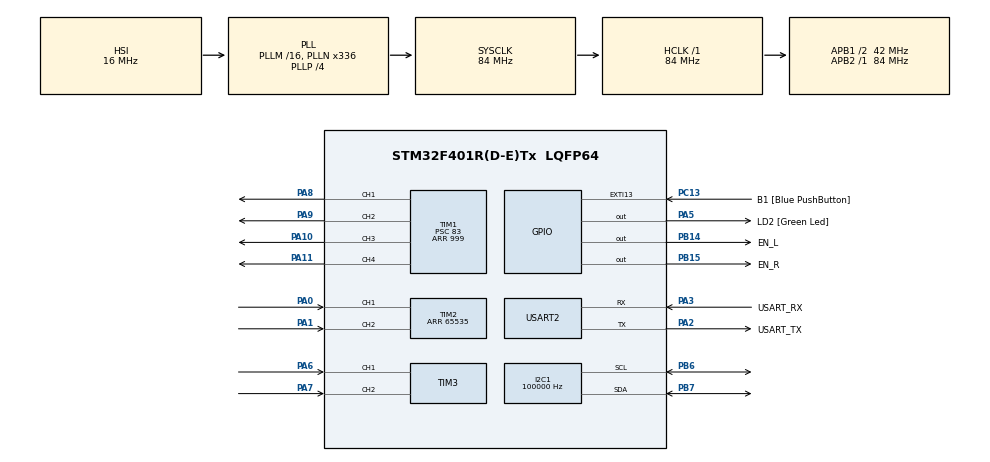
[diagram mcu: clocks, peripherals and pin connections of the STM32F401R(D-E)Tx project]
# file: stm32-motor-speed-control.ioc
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I2C1.ClockSpeed=100000
I2C1.GeneralCallMode=I2C_GENERALCALL_ENABLE
I2C1.NoStretchMode=I2C_NOSTRETCH_DISABLE
I2C1.OwnAddress=69
Mcu.Family=STM32F4
Mcu.Name=STM32F401R(D-E)Tx
Mcu.Package=LQFP64
NVIC.I2C1_ER_IRQn=true\:0\:0\:false\:false\:true\:true\:true\:true
NVIC.I2C1_EV_IRQn=true\:0\:0\:false\:false\:true\:true\:true\:true
NVIC.PriorityGroup=NVIC_PRIORITYGROUP_0
NVIC.TIM4_IRQn=true\:0\:0\:false\:false\:true\:true\:true\:true
PA0-WKUP.Signal=S_TIM2_CH1_ETR
PA1.Signal=S_TIM2_CH2
PA10.Signal=S_TIM1_CH3
PA11.Signal=S_TIM1_CH4
PA13.GPIO_Label=TMS
PA13.Mode=Serial_Wire
PA13.Signal=SYS_JTMS-SWDIO
PA14.GPIO_Label=TCK
PA14.Mode=Serial_Wire
PA14.Signal=SYS_JTCK-SWCLK
PA2.GPIO_Label=USART_TX
PA2.GPIO_Mode=GPIO_MODE_AF_PP
PA2.GPIO_PuPd=GPIO_NOPULL
PA2.GPIO_Speed=GPIO_SPEED_FREQ_LOW
PA2.Mode=Asynchronous
PA2.Signal=USART2_TX
PA3.GPIO_Label=USART_RX
PA3.GPIO_Mode=GPIO_MODE_AF_PP
PA3.GPIO_PuPd=GPIO_NOPULL
PA3.GPIO_Speed=GPIO_SPEED_FREQ_LOW
PA3.Mode=Asynchronous
PA3.Signal=USART2_RX
PA5.GPIO_Label=LD2 [Green Led]
PA5.GPIO_Mode=GPIO_MODE_OUTPUT_PP
PA5.GPIO_PuPd=GPIO_NOPULL
PA5.GPIO_Speed=GPIO_SPEED_FREQ_LOW
PA5.Signal=GPIO_Output
PA6.Signal=S_TIM3_CH1
PA7.Signal=S_TIM3_CH2
PA8.Signal=S_TIM1_CH1
PA9.Signal=S_TIM1_CH2
PB14.GPIO_Label=EN_L
PB14.Signal=GPIO_Output
PB15.GPIO_Label=EN_R
PB15.Signal=GPIO_Output
PB3.GPIO_Label=SWO
PB3.Signal=SYS_JTDO-SWO
PB6.Mode=I2C
PB6.Signal=I2C1_SCL
PB7.Mode=I2C
PB7.Signal=I2C1_SDA
PC13-ANTI_TAMP.GPIO_Label=B1 [Blue PushButton]
PC13-ANTI_TAMP.GPIO_ModeDefaultEXTI=GPIO_MODE_IT_FALLING
PC13-ANTI_TAMP.GPIO_PuPd=GPIO_NOPULL
PC13-ANTI_TAMP.Signal=GPXTI13
PC14-OSC32_IN.Mode=LSE-External-Oscillator
PC14-OSC32_IN.Signal=RCC_OSC32_IN
PC15-OSC32_OUT.Mode=LSE-External-Oscillator
PC15-OSC32_OUT.Signal=RCC_OSC32_OUT
PH0\ -\ OSC_IN.Mode=HSE-External-Clock-Source
PH0\ -\ OSC_IN.Signal=RCC_OSC_IN
PH1\ -\ OSC_OUT.Mode=HSE-External-Clock-Source
PH1\ -\ OSC_OUT.Signal=RCC_OSC_OUT
ProjectManager.HeapSize=0x200
ProjectManager.StackSize=0x400
ProjectManager.TargetToolchain=CMake
RCC.48MHZClocksFreq_Value=48000000
RCC.AHBFreq_Value=84000000
RCC.APB1CLKDivider=RCC_HCLK_DIV2
RCC.APB1Freq_Value=42000000
RCC.APB1TimFreq_Value=84000000
RCC.APB2Freq_Value=84000000
RCC.APB2TimFreq_Value=84000000
RCC.CortexFreq_Value=84000000
RCC.HCLKFreq_Value=84000000
RCC.HSE_VALUE=8000000
RCC.HSI_VALUE=16000000
RCC.PLLN=336
RCC.PLLP=RCC_PLLP_DIV4
RCC.PLLQ=7
RCC.SYSCLKFreq_VALUE=84000000
RCC.SYSCLKSource=RCC_SYSCLKSOURCE_PLLCLK
RCC.VCOOutputFreq_Value=336000000
SH.S_TIM1_CH1.0=TIM1_CH1,PWM Generation1 CH1
SH.S_TIM1_CH2.0=TIM1_CH2,PWM Generation2 CH2
SH.S_TIM1_CH3.0=TIM1_CH3,PWM Generation3 CH3
SH.S_TIM1_CH4.0=TIM1_CH4,PWM Generation4 CH4
SH.S_TIM2_CH1_ETR.0=TIM2_CH1,Encoder_Interface
SH.S_TIM2_CH2.0=TIM2_CH2,Encoder_Interface
SH.S_TIM3_CH1.0=TIM3_CH1,Encoder_Interface
SH.S_TIM3_CH2.0=TIM3_CH2,Encoder_Interface
TIM1.Channel-PWM\ Generation1\ CH1=TIM_CHANNEL_1
TIM1.Channel-PWM\ Generation2\ CH2=TIM_CHANNEL_2
TIM1.Channel-PWM\ Generation3\ CH3=TIM_CHANNEL_3
TIM1.Channel-PWM\ Generation4\ CH4=TIM_CHANNEL_4
TIM1.Period=999
TIM1.Prescaler=83
TIM2.EncoderMode=TIM_ENCODERMODE_TI12
TIM2.Period=65535
TIM3.EncoderMode=TIM_ENCODERMODE_TI12
TIM4.Period=9999
TIM4.Prescaler=41
USART2.VirtualMode=VM_ASYNC
VP_TIM1_VS_ClockSourceINT.Mode=Internal
VP_TIM4_VS_ClockSourceINT.Mode=Internal
board=NUCLEO-F401RE

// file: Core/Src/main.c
/* USER CODE BEGIN Header */
/**
  ******************************************************************************
  * @file           : main.c
  * @brief          : Main program body
  ******************************************************************************
  * @attention
  *
  * Copyright (c) 2025 STMicroelectronics.
  * All rights reserved.
  *
  * This software is licensed under terms that can be found in the LICENSE file
  * in the root directory of this software component.
  * If no LICENSE file comes with this software, it is provided AS-IS.
  *
  ******************************************************************************
  */
/* USER CODE END Header */
#include "main.h"

/* USER CODE BEGIN Includes */
#include "motor_control.h"
#include "motor_encoder.h"
#include "PCF8575.h"
#include "pid_control.h"
#include "kalman_1d.h"
#include "stdio.h"

#include <stdarg.h>
//#include <string.h>

//#include <math.h>

/* USER CODE END Includes */

I2C_HandleTypeDef hi2c1;

TIM_HandleTypeDef htim1;
TIM_HandleTypeDef htim2;
TIM_HandleTypeDef htim3;
TIM_HandleTypeDef htim4;

UART_HandleTypeDef huart2;

/* USER CODE BEGIN PV */

// motor_inst struct defined in motor_control.h

static const motor_inst motor_L = { .htim_motor = &htim1,
									.htim_motor_f_ch = TIM_CHANNEL_3,
									.htim_motor_b_ch = TIM_CHANNEL_4,
									.en_pin_number = EN_L_Pin,
									.en_pin_port = EN_L_GPIO_Port,
};
static const motor_inst motor_R = { .htim_motor = &htim1,
									.htim_motor_f_ch = TIM_CHANNEL_1,
									.htim_motor_b_ch = TIM_CHANNEL_2,
									.en_pin_number = EN_R_Pin,
									.en_pin_port = EN_R_GPIO_Port,
};

// encoder_inst struct defined in motor_encoder.h

encoder_inst  motor_L_enc = 	{.first_time = 0,
											.htim_encoder = &htim3,
											.last_counter_value = 0,
											.position = 0,
											.timer_period = 0.01,
											.velocity = 0};
encoder_inst  motor_R_enc = 	{.first_time = 0,
											.htim_encoder = &htim2,
											.last_counter_value = 0,
											.position = 0,
											.timer_period = 0.01,
											.velocity = 0};

// PCF8575_inst struct defined in PCF8575.h

static PCF8575_inst inputExp_L = {	.hi2c = &hi2c1,
									.isRead = 1,
									.addr = (0b0100001 << 1),
};

static PCF8575_inst outputExp_L = {	.hi2c = &hi2c1,
									.isRead = 0,
									.addr = 0b01000000,
};

static PCF8575_inst inputExp_R = {	.hi2c = &hi2c1,
									.isRead = 1,
									.addr = (0b0100011 << 1),
};

static PCF8575_inst outputExp_R = {	.hi2c = &hi2c1,
									.isRead = 0,
									.addr = (0b0100010 << 1),
};

// pid_instance struct is defined in pid_control.h
static pid_instance mot_L_pid = {.k_d = 0,
								.error_integral = 0,
								.k_i = 0, // 25,
								.integral_max = 5000,
								.last_error = 0,
								.pwm_output = 0,
								.k_p = 20,
								.pid_max = 50,
								.sam_rate = 100};

static pid_instance mot_R_pid = {.k_d = 0,
								.error_integral = 0,
								.k_i = 0, // 25,
								.integral_max = 5000,
								.last_error = 0,
								.pwm_output = 0,
								.k_p = 20,
								.pid_max = 50,
								.sam_rate = 100};

// kalman_1d_inst defined in kalman_1d.h. Must declare every parameter
kalman_1d_inst kalm_L =
{
                .A = 1,
                .Q = 0,
                .H = 1,
                .R = 0.2,
                .xh_k = 0,               /* Initial guess of state variable */
                .Ph_k = 4,               /* Initial guess of state covariance matrix*/
};

kalman_1d_inst kalm_R =
{
                .A = 1,
                .Q = 0,
                .H = 1,
                .R = 0.2,
                .xh_k = 0,               /* Initial guess of state variable */
                .Ph_k = 4,               /* Initial guess of state covariance matrix*/
};

float des_vel_L = 0;              /* */
float des_vel_R = 0;

float temp_L_velocity = 0;
float temp_R_velocity = 0;
uint8_t timer_flag = 0;
/* USER CODE END PV */

void SystemClock_Config(void);
static void MX_GPIO_Init(void);
static void MX_USART2_UART_Init(void);
static void MX_I2C1_Init(void);
static void MX_TIM1_Init(void);
static void MX_TIM2_Init(void);
static void MX_TIM3_Init(void);
static void MX_TIM4_Init(void);

/* USER CODE BEGIN 0 */
void printf_float(char *buf, size_t buf_len, float val)
{
    float abs_val = fabsf(val);

    size_t integ = (size_t)abs_val;
    size_t frac = (size_t)(abs_val * powf(10, 5));

    if (val > 0)
        sniprintf(buf, buf_len, "%u.%05u", integ, frac);
    else
        sniprintf(buf, buf_len, "-%u.%05u", integ, frac);
}

void usart_printf(const char *fmt, ...)
{
    // osMutexAcquire(USART2_LockHandle, 5); // No timeout

    static char buffer[128];
    va_list args;
    va_start(args, fmt);
    vsniprintf(buffer, sizeof(buffer), fmt, args);
    va_end(args);

    int len = strlen(buffer);
    HAL_UART_Transmit(&huart2, (uint8_t *)buffer, len, -1);

    // osMutexRelease(USART2_LockHandle);
}
/* USER CODE END 0 */

int main(void)
{

  /* MCU Configuration--------------------------------------------------------*/

  /* Reset of all peripherals, Initializes the Flash interface and the Systick. */
  HAL_Init();

  /* Configure the system clock */
  SystemClock_Config();

  /* Initialize all configured peripherals */
  MX_GPIO_Init();
  MX_USART2_UART_Init();
  MX_I2C1_Init();
  MX_TIM1_Init();
  MX_TIM2_Init();
  MX_TIM3_Init();
  MX_TIM4_Init();
  /* USER CODE BEGIN 2 */

  // LED ON-OFF to indicate code starting
  HAL_GPIO_WritePin(LD2_GPIO_Port, LD2_Pin, GPIO_PIN_SET);
  HAL_Delay(500);
  HAL_GPIO_WritePin(LD2_GPIO_Port, LD2_Pin, GPIO_PIN_RESET);
  HAL_Delay(500);

  // Begin PWM Timer Channels
  HAL_TIM_PWM_Start(&htim1, TIM_CHANNEL_1);
  HAL_TIM_PWM_Start(&htim1, TIM_CHANNEL_2);
  HAL_TIM_PWM_Start(&htim1, TIM_CHANNEL_3);
  HAL_TIM_PWM_Start(&htim1, TIM_CHANNEL_4);

  // enable motors
  enable_motor((motor_inst*)&motor_L);
  enable_motor((motor_inst*)&motor_R);

  // reset encoders (initialize first time)
  reset_encoder(&motor_L_enc);
  reset_encoder(&motor_R_enc);

  // reset pid
  reset_pid(&mot_L_pid);
  reset_pid(&mot_R_pid);

  //set_speed_open((motor_inst*)&motor_L, 10);
  HAL_I2C_EnableListen_IT(&hi2c1);

  HAL_GPIO_WritePin(LD2_GPIO_Port, LD2_Pin, GPIO_PIN_SET);
  HAL_Delay(500);
  HAL_GPIO_WritePin(LD2_GPIO_Port, LD2_Pin, GPIO_PIN_RESET);
  HAL_Delay(500);

 /*
  if(HAL_I2C_IsDeviceReady(outputExp_L.hi2c, outputExp_L.addr, 1, 100) == HAL_OK)
  {
	  for(int k = 1; k <= 3; k++)
	  {
	  	  HAL_GPIO_WritePin(LD2_GPIO_Port, LD2_Pin, GPIO_PIN_SET);
	  	  HAL_Delay(200);
	  	  HAL_GPIO_WritePin(LD2_GPIO_Port, LD2_Pin, GPIO_PIN_RESET);
	  	  HAL_Delay(200);
	  }
  }
  */

//  writeGPIOExp(&outputExp_L, floatToInt16(32.3));
  /*
  HAL_Delay(100);
  set_speed_open((motor_inst*)&motor_L, 10.0);
  set_speed_open((motor_inst*)&motor_R, 10.0);

  // Check that GPIO Expanders can be talked to
  if(HAL_I2C_IsDeviceReady(inputExp_L.hi2c, inputExp_L.addr, 1, 100) == HAL_OK)
  {
	  for(int k = 1; k <= 3; k++)
	  {
		  HAL_GPIO_WritePin(LD2_GPIO_Port, LD2_Pin, GPIO_PIN_SET);
		  HAL_Delay(200);
		  HAL_GPIO_WritePin(LD2_GPIO_Port, LD2_Pin, GPIO_PIN_RESET);
		  HAL_Delay(200);
	  }

  }
  HAL_Delay(500);
  if(HAL_I2C_IsDeviceReady(outputExp_L.hi2c, outputExp_L.addr, 1, 100) == HAL_OK)
  {
	  for(int k = 1; k <= 3; k++)
	  {
	  	  HAL_GPIO_WritePin(LD2_GPIO_Port, LD2_Pin, GPIO_PIN_SET);
	  	  HAL_Delay(200);
	  	  HAL_GPIO_WritePin(LD2_GPIO_Port, LD2_Pin, GPIO_PIN_RESET);
	  	  HAL_Delay(200);
	  }
  }
  HAL_Delay(500);

  if(HAL_I2C_IsDeviceReady(inputExp_R.hi2c, inputExp_R.addr, 1, 100) == HAL_OK)
  {
	  for(int k = 1; k <= 3; k++)
	  {
		  HAL_GPIO_WritePin(LD2_GPIO_Port, LD2_Pin, GPIO_PIN_SET);
		  HAL_Delay(200);
		  HAL_GPIO_WritePin(LD2_GPIO_Port, LD2_Pin, GPIO_PIN_RESET);
		  HAL_Delay(200);
	  }

  }
  HAL_Delay(500);
  if(HAL_I2C_IsDeviceReady(outputExp_R.hi2c, outputExp_R.addr, 1, 100) == HAL_OK)
  {
	  for(int k = 1; k <= 3; k++)
	  {
	  	  HAL_GPIO_WritePin(LD2_GPIO_Port, LD2_Pin, GPIO_PIN_SET);
	  	  HAL_Delay(200);
	  	  HAL_GPIO_WritePin(LD2_GPIO_Port, LD2_Pin, GPIO_PIN_RESET);
	  	  HAL_Delay(200);
	  }
  }
  HAL_Delay(500);

  // LED Marking that Initialization has been completed
  HAL_GPIO_WritePin(LD2_GPIO_Port, LD2_Pin, GPIO_PIN_SET);
   */

  /* USER CODE END 2 */

  /* Infinite loop */
  /* USER CODE BEGIN WHILE */
  while (1)
  {

	  if(timer_flag)
	  {
		  timer_flag = 0;
		  get_encoder_speed(&motor_L_enc);
		  get_encoder_speed(&motor_R_enc);
      temp_L_velocity = motor_L_enc.velocity;
      temp_R_velocity = motor_R_enc.velocity;

/*
      set_speed_open((motor_inst*)&motor_L, -10.0);
      set_speed_open((motor_inst*)&motor_R, -20.0);
*/

      apply_pid(&mot_L_pid, des_vel_L - temp_L_velocity);
      set_speed_open((motor_inst*)&motor_L, mot_L_pid.pwm_output);

      apply_pid(&mot_R_pid, des_vel_R - temp_R_velocity);
      set_speed_open((motor_inst*)&motor_R, mot_R_pid.pwm_output);
      /*
      // float desired_vel = 1.5; // rad/s
      apply_pid(&mot_L_pid, des_vel_L - temp_L_velocity);
      set_speed_open((motor_inst*)&motor_L, mot_L_pid.pwm_output);
      */

      char buf[128];
      //printf_float(buf  , sizeof(buf), temp_L_velocity);
      //usart_printf("v = %s rad/s\n", gcvt(temp_L_velocity, 6, buf));

      usart_printf("omega_L = %s ", gcvt(temp_L_velocity, 6, buf));
      kalmanUpdate(&kalm_L, temp_L_velocity);

      char buf2[128];
      usart_printf("%s\t", gcvt(kalm_L.xh_k, 6, buf2));

      char buf3[128];
      usart_printf("omega_R = %s ", gcvt(temp_R_velocity, 6, buf3));
      kalmanUpdate(&kalm_R, temp_R_velocity);

      char buf4[128];
      usart_printf("%s\n", gcvt(kalm_R.xh_k, 6, buf4));

		  //writeGPIOExp(&outputExp_L, floatToInt16(motor_L_enc.velocity));
		  //writeGPIOExp(&outputExp_R, floatToInt16(motor_R_enc.velocity));
	  }

	 // HAL_StatusTypeDef ret =HAL_I2C_IsDeviceReady
	//		  (outputExp_L.hi2c, outputExp_L.addr, 1, 100);
/*
	  if(HAL_I2C_IsDeviceReady
			  (outputExp_L.hi2c, outputExp_L.addr, 1, 100) == HAL_OK)
	  {
	  		  HAL_GPIO_WritePin(LD2_GPIO_Port, LD2_Pin, GPIO_PIN_SET);
	  		  HAL_Delay(500);
	  		  HAL_GPIO_WritePin(LD2_GPIO_Port, LD2_Pin, GPIO_PIN_RESET);
	  		  HAL_Delay(500);
	  }
	  */

    /* USER CODE END WHILE */

  }
}

void SystemClock_Config(void)
{
  RCC_OscInitTypeDef RCC_OscInitStruct = {0};
  RCC_ClkInitTypeDef RCC_ClkInitStruct = {0};

  /** Configure the main internal regulator output voltage
  */
  __HAL_RCC_PWR_CLK_ENABLE();
  __HAL_PWR_VOLTAGESCALING_CONFIG(PWR_REGULATOR_VOLTAGE_SCALE2);

  /** Initializes the RCC Oscillators according to the specified parameters
  * in the RCC_OscInitTypeDef structure.
  */
  RCC_OscInitStruct.OscillatorType = RCC_OSCILLATORTYPE_HSI;
  RCC_OscInitStruct.HSIState = RCC_HSI_ON;
  RCC_OscInitStruct.HSICalibrationValue = RCC_HSICALIBRATION_DEFAULT;
  RCC_OscInitStruct.PLL.PLLState = RCC_PLL_ON;
  RCC_OscInitStruct.PLL.PLLSource = RCC_PLLSOURCE_HSI;
  RCC_OscInitStruct.PLL.PLLM = 16;
  RCC_OscInitStruct.PLL.PLLN = 336;
  RCC_OscInitStruct.PLL.PLLP = RCC_PLLP_DIV4;
  RCC_OscInitStruct.PLL.PLLQ = 7;
  if (HAL_RCC_OscConfig(&RCC_OscInitStruct) != HAL_OK)
  {
    Error_Handler();
  }

  /** Initializes the CPU, AHB and APB buses clocks
  */
  RCC_ClkInitStruct.ClockType = RCC_CLOCKTYPE_HCLK|RCC_CLOCKTYPE_SYSCLK
                              |RCC_CLOCKTYPE_PCLK1|RCC_CLOCKTYPE_PCLK2;
  RCC_ClkInitStruct.SYSCLKSource = RCC_SYSCLKSOURCE_PLLCLK;
  RCC_ClkInitStruct.AHBCLKDivider = RCC_SYSCLK_DIV1;
  RCC_ClkInitStruct.APB1CLKDivider = RCC_HCLK_DIV2;
  RCC_ClkInitStruct.APB2CLKDivider = RCC_HCLK_DIV1;

  if (HAL_RCC_ClockConfig(&RCC_ClkInitStruct, FLASH_LATENCY_2) != HAL_OK)
  {
    Error_Handler();
  }
}

static void MX_I2C1_Init(void)
{

  hi2c1.Instance = I2C1;
  hi2c1.Init.ClockSpeed = 100000;
  hi2c1.Init.DutyCycle = I2C_DUTYCYCLE_2;
  hi2c1.Init.OwnAddress1 = 138;
  hi2c1.Init.AddressingMode = I2C_ADDRESSINGMODE_7BIT;
  hi2c1.Init.DualAddressMode = I2C_DUALADDRESS_DISABLE;
  hi2c1.Init.OwnAddress2 = 0;
  hi2c1.Init.GeneralCallMode = I2C_GENERALCALL_ENABLE;
  hi2c1.Init.NoStretchMode = I2C_NOSTRETCH_DISABLE;
  if (HAL_I2C_Init(&hi2c1) != HAL_OK)
  {
    Error_Handler();
  }

}

static void MX_TIM1_Init(void)
{

  TIM_ClockConfigTypeDef sClockSourceConfig = {0};
  TIM_MasterConfigTypeDef sMasterConfig = {0};
  TIM_OC_InitTypeDef sConfigOC = {0};
  TIM_BreakDeadTimeConfigTypeDef sBreakDeadTimeConfig = {0};

  /* USER CODE BEGIN TIM1_Init 1 */
  // 84 MHz / (83 + 1) = 1 MHz  | Prescaled Timer
  // 1 MHz / (999 + 1) = 1 kHz  | PWM Frequency
  /* USER CODE END TIM1_Init 1 */
  htim1.Instance = TIM1;
  htim1.Init.Prescaler = 83;
  htim1.Init.CounterMode = TIM_COUNTERMODE_UP;
  htim1.Init.Period = 999;
  htim1.Init.ClockDivision = TIM_CLOCKDIVISION_DIV1;
  htim1.Init.RepetitionCounter = 0;
  htim1.Init.AutoReloadPreload = TIM_AUTORELOAD_PRELOAD_DISABLE;
  if (HAL_TIM_Base_Init(&htim1) != HAL_OK)
  {
    Error_Handler();
  }
  sClockSourceConfig.ClockSource = TIM_CLOCKSOURCE_INTERNAL;
  if (HAL_TIM_ConfigClockSource(&htim1, &sClockSourceConfig) != HAL_OK)
  {
    Error_Handler();
  }
  if (HAL_TIM_PWM_Init(&htim1) != HAL_OK)
  {
    Error_Handler();
  }
  sMasterConfig.MasterOutputTrigger = TIM_TRGO_RESET;
  sMasterConfig.MasterSlaveMode = TIM_MASTERSLAVEMODE_DISABLE;
  if (HAL_TIMEx_MasterConfigSynchronization(&htim1, &sMasterConfig) != HAL_OK)
  {
    Error_Handler();
  }
  sConfigOC.OCMode = TIM_OCMODE_PWM1;
  sConfigOC.Pulse = 0;
  sConfigOC.OCPolarity = TIM_OCPOLARITY_HIGH;
  sConfigOC.OCNPolarity = TIM_OCNPOLARITY_HIGH;
  sConfigOC.OCFastMode = TIM_OCFAST_DISABLE;
  sConfigOC.OCIdleState = TIM_OCIDLESTATE_RESET;
  sConfigOC.OCNIdleState = TIM_OCNIDLESTATE_RESET;
  if (HAL_TIM_PWM_ConfigChannel(&htim1, &sConfigOC, TIM_CHANNEL_1) != HAL_OK)
  {
    Error_Handler();
  }
  if (HAL_TIM_PWM_ConfigChannel(&htim1, &sConfigOC, TIM_CHANNEL_2) != HAL_OK)
  {
    Error_Handler();
  }
  if (HAL_TIM_PWM_ConfigChannel(&htim1, &sConfigOC, TIM_CHANNEL_3) != HAL_OK)
  {
    Error_Handler();
  }
  if (HAL_TIM_PWM_ConfigChannel(&htim1, &sConfigOC, TIM_CHANNEL_4) != HAL_OK)
  {
    Error_Handler();
  }
  sBreakDeadTimeConfig.OffStateRunMode = TIM_OSSR_DISABLE;
  sBreakDeadTimeConfig.OffStateIDLEMode = TIM_OSSI_DISABLE;
  sBreakDeadTimeConfig.LockLevel = TIM_LOCKLEVEL_OFF;
  sBreakDeadTimeConfig.DeadTime = 0;
  sBreakDeadTimeConfig.BreakState = TIM_BREAK_DISABLE;
  sBreakDeadTimeConfig.BreakPolarity = TIM_BREAKPOLARITY_HIGH;
  sBreakDeadTimeConfig.AutomaticOutput = TIM_AUTOMATICOUTPUT_DISABLE;
  if (HAL_TIMEx_ConfigBreakDeadTime(&htim1, &sBreakDeadTimeConfig) != HAL_OK)
  {
    Error_Handler();
  }
  HAL_TIM_MspPostInit(&htim1);

}

static void MX_TIM2_Init(void)
{

  TIM_Encoder_InitTypeDef sConfig = {0};
  TIM_MasterConfigTypeDef sMasterConfig = {0};

  htim2.Instance = TIM2;
  htim2.Init.Prescaler = 0;
  htim2.Init.CounterMode = TIM_COUNTERMODE_UP;
  htim2.Init.Period = 65535;
  htim2.Init.ClockDivision = TIM_CLOCKDIVISION_DIV1;
  htim2.Init.AutoReloadPreload = TIM_AUTORELOAD_PRELOAD_DISABLE;
  sConfig.EncoderMode = TIM_ENCODERMODE_TI12;
  sConfig.IC1Polarity = TIM_ICPOLARITY_RISING;
  sConfig.IC1Selection = TIM_ICSELECTION_DIRECTTI;
  sConfig.IC1Prescaler = TIM_ICPSC_DIV1;
  sConfig.IC1Filter = 0;
  sConfig.IC2Polarity = TIM_ICPOLARITY_RISING;
  sConfig.IC2Selection = TIM_ICSELECTION_DIRECTTI;
  sConfig.IC2Prescaler = TIM_ICPSC_DIV1;
  sConfig.IC2Filter = 0;
  if (HAL_TIM_Encoder_Init(&htim2, &sConfig) != HAL_OK)
  {
    Error_Handler();
  }
  sMasterConfig.MasterOutputTrigger = TIM_TRGO_RESET;
  sMasterConfig.MasterSlaveMode = TIM_MASTERSLAVEMODE_DISABLE;
  if (HAL_TIMEx_MasterConfigSynchronization(&htim2, &sMasterConfig) != HAL_OK)
  {
    Error_Handler();
  }
  /* USER CODE BEGIN TIM2_Init 2 */
  HAL_TIM_Encoder_Start(&htim2, TIM_CHANNEL_ALL);
  /* USER CODE END TIM2_Init 2 */

}

static void MX_TIM3_Init(void)
{

  TIM_Encoder_InitTypeDef sConfig = {0};
  TIM_MasterConfigTypeDef sMasterConfig = {0};

  htim3.Instance = TIM3;
  htim3.Init.Prescaler = 0;
  htim3.Init.CounterMode = TIM_COUNTERMODE_UP;
  htim3.Init.Period = 65535;
  htim3.Init.ClockDivision = TIM_CLOCKDIVISION_DIV1;
  htim3.Init.AutoReloadPreload = TIM_AUTORELOAD_PRELOAD_DISABLE;
  sConfig.EncoderMode = TIM_ENCODERMODE_TI12;
  sConfig.IC1Polarity = TIM_ICPOLARITY_RISING;
  sConfig.IC1Selection = TIM_ICSELECTION_DIRECTTI;
  sConfig.IC1Prescaler = TIM_ICPSC_DIV1;
  sConfig.IC1Filter = 0;
  sConfig.IC2Polarity = TIM_ICPOLARITY_RISING;
  sConfig.IC2Selection = TIM_ICSELECTION_DIRECTTI;
  sConfig.IC2Prescaler = TIM_ICPSC_DIV1;
  sConfig.IC2Filter = 0;
  if (HAL_TIM_Encoder_Init(&htim3, &sConfig) != HAL_OK)
  {
    Error_Handler();
  }
  sMasterConfig.MasterOutputTrigger = TIM_TRGO_RESET;
  sMasterConfig.MasterSlaveMode = TIM_MASTERSLAVEMODE_DISABLE;
  if (HAL_TIMEx_MasterConfigSynchronization(&htim3, &sMasterConfig) != HAL_OK)
  {
    Error_Handler();
  }
  /* USER CODE BEGIN TIM3_Init 2 */
  HAL_TIM_Encoder_Start(&htim3, TIM_CHANNEL_ALL);
  /* USER CODE END TIM3_Init 2 */

}

static void MX_TIM4_Init(void)
{

  TIM_ClockConfigTypeDef sClockSourceConfig = {0};
  TIM_MasterConfigTypeDef sMasterConfig = {0};

  /* USER CODE BEGIN TIM4_Init 1 */
  // 42 MHz / (41 + 1) = 1 MHz | Prescaled Timer
  // 1 MHz / (9999 + 1) = 100 Hz | Update Frequency
  // 1 / 100 Hz = 10 ms | Sampling Period
  /* USER CODE END TIM4_Init 1 */
  htim4.Instance = TIM4;
  htim4.Init.Prescaler = 41;
  htim4.Init.CounterMode = TIM_COUNTERMODE_UP;
  htim4.Init.Period = 9999;
  htim4.Init.ClockDivision = TIM_CLOCKDIVISION_DIV1;
  htim4.Init.AutoReloadPreload = TIM_AUTORELOAD_PRELOAD_DISABLE;
  if (HAL_TIM_Base_Init(&htim4) != HAL_OK)
  {
    Error_Handler();
  }
  sClockSourceConfig.ClockSource = TIM_CLOCKSOURCE_INTERNAL;
  if (HAL_TIM_ConfigClockSource(&htim4, &sClockSourceConfig) != HAL_OK)
  {
    Error_Handler();
  }
  sMasterConfig.MasterOutputTrigger = TIM_TRGO_RESET;
  sMasterConfig.MasterSlaveMode = TIM_MASTERSLAVEMODE_DISABLE;
  if (HAL_TIMEx_MasterConfigSynchronization(&htim4, &sMasterConfig) != HAL_OK)
  {
    Error_Handler();
  }
  /* USER CODE BEGIN TIM4_Init 2 */
  HAL_TIM_Base_Start_IT(&htim4);
  /* USER CODE END TIM4_Init 2 */

}

static void MX_USART2_UART_Init(void)
{

  huart2.Instance = USART2;
  huart2.Init.BaudRate = 115200;
  huart2.Init.WordLength = UART_WORDLENGTH_8B;
  huart2.Init.StopBits = UART_STOPBITS_1;
  huart2.Init.Parity = UART_PARITY_NONE;
  huart2.Init.Mode = UART_MODE_TX_RX;
  huart2.Init.HwFlowCtl = UART_HWCONTROL_NONE;
  huart2.Init.OverSampling = UART_OVERSAMPLING_16;
  if (HAL_UART_Init(&huart2) != HAL_OK)
  {
    Error_Handler();
  }

}

static void MX_GPIO_Init(void)
{
  GPIO_InitTypeDef GPIO_InitStruct = {0};

  /* GPIO Ports Clock Enable */
  __HAL_RCC_GPIOC_CLK_ENABLE();
  __HAL_RCC_GPIOH_CLK_ENABLE();
  __HAL_RCC_GPIOA_CLK_ENABLE();
  __HAL_RCC_GPIOB_CLK_ENABLE();

  /*Configure GPIO pin Output Level */
  HAL_GPIO_WritePin(LD2_GPIO_Port, LD2_Pin, GPIO_PIN_RESET);

  /*Configure GPIO pin Output Level */
  HAL_GPIO_WritePin(GPIOB, EN_L_Pin|EN_R_Pin, GPIO_PIN_RESET);

  /*Configure GPIO pin : B1_Pin */
  GPIO_InitStruct.Pin = B1_Pin;
  GPIO_InitStruct.Mode = GPIO_MODE_IT_FALLING;
  GPIO_InitStruct.Pull = GPIO_NOPULL;
  HAL_GPIO_Init(B1_GPIO_Port, &GPIO_InitStruct);

  /*Configure GPIO pin : LD2_Pin */
  GPIO_InitStruct.Pin = LD2_Pin;
  GPIO_InitStruct.Mode = GPIO_MODE_OUTPUT_PP;
  GPIO_InitStruct.Pull = GPIO_NOPULL;
  GPIO_InitStruct.Speed = GPIO_SPEED_FREQ_LOW;
  HAL_GPIO_Init(LD2_GPIO_Port, &GPIO_InitStruct);

  /*Configure GPIO pins : EN_L_Pin EN_R_Pin */
  GPIO_InitStruct.Pin = EN_L_Pin|EN_R_Pin;
  GPIO_InitStruct.Mode = GPIO_MODE_OUTPUT_PP;
  GPIO_InitStruct.Pull = GPIO_NOPULL;
  GPIO_InitStruct.Speed = GPIO_SPEED_FREQ_LOW;
  HAL_GPIO_Init(GPIOB, &GPIO_InitStruct);

}

/* USER CODE BEGIN 4 */

/*
int _write(int le, char *ptr, int len)
{
	int DataIdx;
	for(DataIdx = 0; DataIdx < len; DataIdx++)
	{
		ITM_SendChar(*ptr++);
	}
	return len;
}
*/

void HAL_TIM_PeriodElapsedCallback(TIM_HandleTypeDef *htim)
{
	if(htim == &htim4)
	{
		timer_flag = 1;
	}
}
/* USER CODE END 4 */

void Error_Handler(void)
{
  __disable_irq();
  while (1)
  {
  }
}
